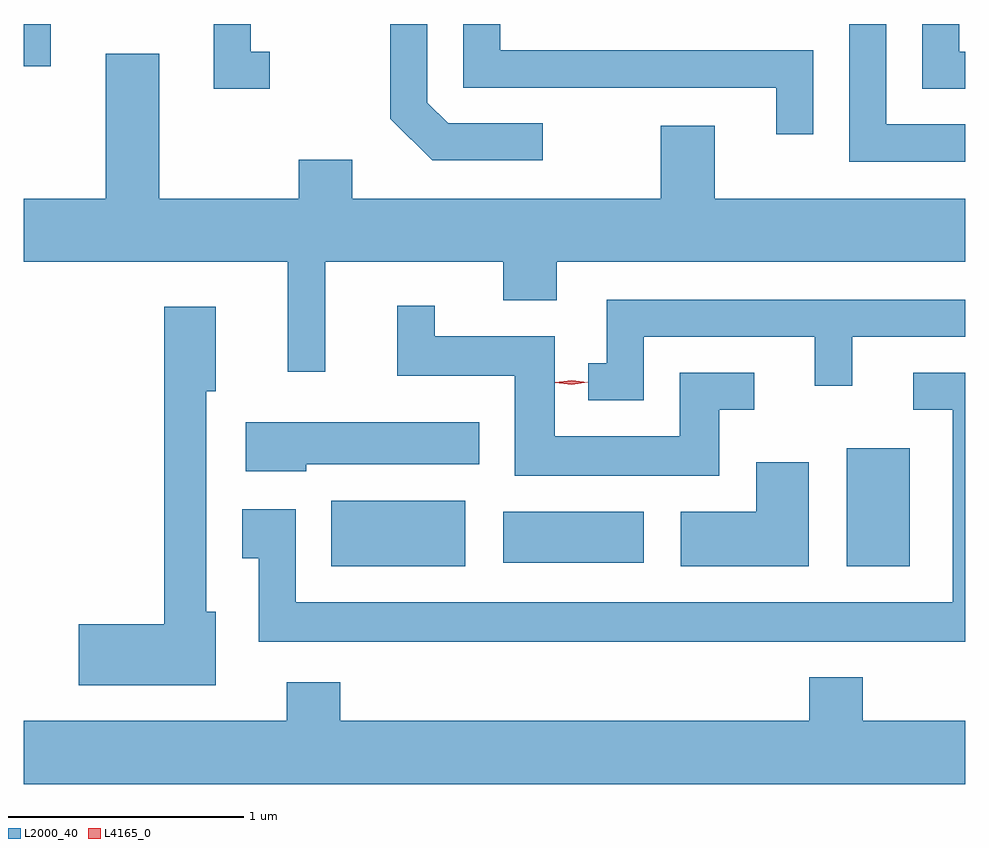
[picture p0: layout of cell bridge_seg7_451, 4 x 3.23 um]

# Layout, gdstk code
import gdstk
lib = gdstk.Library(unit=1e-6, precision=1e-09)
def R(c, l, rs):  # rectangles x0, y0, x1, y1
    for r in rs: c.add(gdstk.rectangle(r[:2], r[2:], *l))
def P(c, l, *ps):  # polygons
    for p in ps: c.add(gdstk.Polygon(p, *l))
L2000_40 = (2000, 40)
L4165_0 = (4165, 0)

bridge_seg7_451 = lib.new_cell('bridge_seg7_451')
R(bridge_seg7_451, L2000_40, [(1076.251,1695.261,1076.819,1695.539), (1078.441,1695.261,1078.709,1695.764), (1076.981,1695.276,1077.579,1695.494), (1074.944,1697.386,1075.059,1697.566)])
P(bridge_seg7_451, L2000_40, [(1075.988,1697.449),(1075.909,1697.449),(1075.909,1697.566),(1075.751,1697.566),(1075.751,1697.291),(1075.988,1697.291)],
  [(1078.944,1697.449),(1078.919,1697.449),(1078.919,1697.566),(1078.761,1697.566),(1078.761,1697.291),(1078.944,1697.291)],
  [(1078.944,1697.139),(1078.609,1697.139),(1078.609,1697.566),(1078.451,1697.566),(1078.451,1696.981),(1078.944,1696.981)],
  [(1078.299,1697.454),(1076.969,1697.454),(1076.969,1697.566),(1076.811,1697.566),(1076.811,1697.296),(1078.141,1697.296),(1078.141,1697.098),(1078.299,1697.098)],
  [(1077.148,1697.144),(1076.747,1697.144),(1076.659,1697.232),(1076.659,1697.566),(1076.501,1697.566),(1076.501,1697.164),(1076.679,1696.986),(1077.148,1696.986)],
  [(1076.224,1696.556),(1076.981,1696.556),(1076.981,1696.391),(1077.209,1696.391),(1077.209,1696.556),(1078.944,1696.556),(1078.944,1696.824),(1077.879,1696.824),(1077.879,1697.134),(1077.651,1697.134),(1077.651,1696.824),(1076.339,1696.824),(1076.339,1696.989),(1076.111,1696.989),(1076.111,1696.824),(1075.519,1696.824),(1075.519,1697.439),(1075.291,1697.439),(1075.291,1696.824),(1074.944,1696.824),(1074.944,1696.556),(1076.066,1696.556),(1076.066,1696.088),(1076.224,1696.088)],
  [(1077.579,1696.236),(1078.306,1696.236),(1078.306,1696.028),(1078.464,1696.028),(1078.464,1696.236),(1078.944,1696.236),(1078.944,1696.394),(1077.421,1696.394),(1077.421,1696.124),(1077.343,1696.124),(1077.343,1695.966),(1077.579,1695.966)],
  [(1077.899,1695.926),(1078.048,1695.926),(1078.048,1696.084),(1077.731,1696.084),(1077.731,1695.814),(1077.199,1695.814),(1077.199,1696.239),(1076.689,1696.239),(1076.689,1696.368),(1076.531,1696.368),(1076.531,1696.071),(1077.031,1696.071),(1077.031,1695.646),(1077.899,1695.646)],
  [(1075.759,1695.069),(1075.719,1695.069),(1075.719,1696.006),(1075.759,1696.006),(1075.759,1696.364),(1075.541,1696.364),(1075.541,1695.014),(1075.176,1695.014),(1075.176,1694.756),(1075.759,1694.756)],
  [(1078.944,1696.084),(1078.723,1696.084),(1078.723,1695.926),(1078.891,1695.926),(1078.891,1695.109),(1076.099,1695.109),(1076.099,1695.504),(1075.871,1695.504),(1075.871,1695.296),(1075.941,1695.296),(1075.941,1694.941),(1078.944,1694.941)],
  [(1076.144,1695.696),(1076.879,1695.696),(1076.879,1695.874),(1075.886,1695.874),(1075.886,1695.666),(1076.144,1695.666)],
  [(1078.279,1695.704),(1078.056,1695.704),(1078.056,1695.494),(1077.736,1695.494),(1077.736,1695.261),(1078.279,1695.261)],
  [(1078.944,1694.604),(1078.509,1694.604),(1078.509,1694.789),(1078.281,1694.789),(1078.281,1694.604),(1076.289,1694.604),(1076.289,1694.769),(1076.061,1694.769),(1076.061,1694.604),(1074.944,1694.604),(1074.944,1694.336),(1078.944,1694.336)])
P(bridge_seg7_451, L4165_0, [(1077.272,1696.033),(1077.202,1696.042),(1077.202,1696.043),(1077.202,1696.043),(1077.272,1696.053),(1077.341,1696.044),(1077.341,1696.043),(1077.341,1696.043)])

lib.write_gds('bridge_seg7_451.gds')
